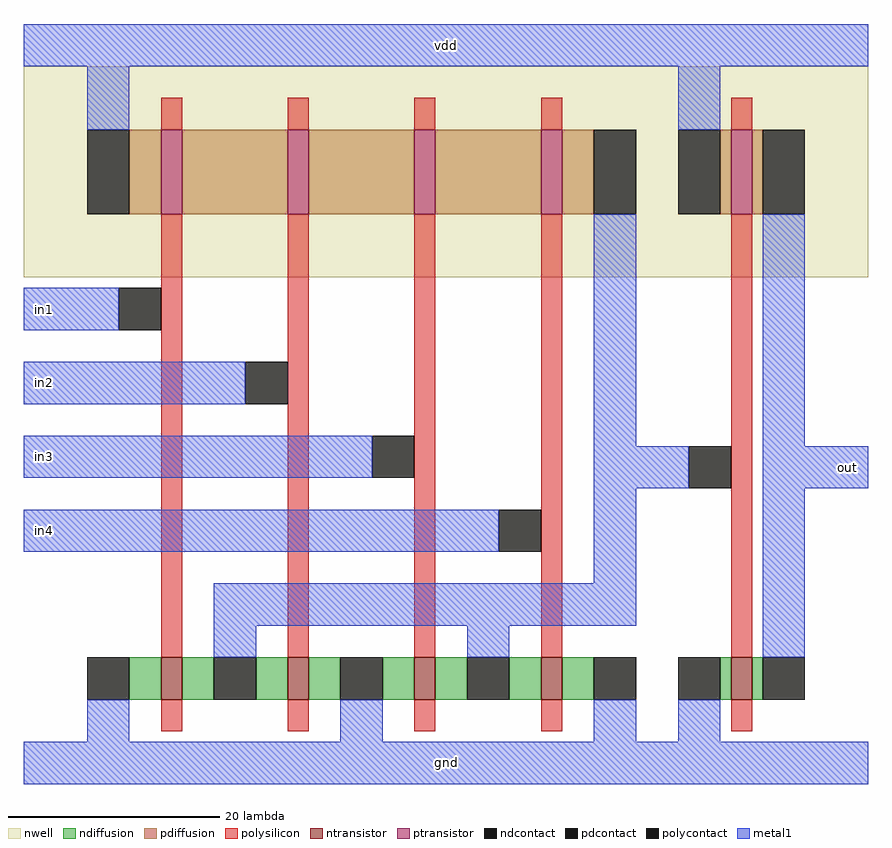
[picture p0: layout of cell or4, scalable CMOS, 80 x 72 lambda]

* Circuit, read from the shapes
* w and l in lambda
.subckt or4 gnd in1 in2 in3 in4 out vdd
M1 n1 in1 gnd VSUBS nfet w=4 l=2
M2 gnd in2 n1 VSUBS nfet w=4 l=2
M3 n1 in3 gnd VSUBS nfet w=4 l=2
M4 gnd in4 n1 VSUBS nfet w=4 l=2
M5 out n1 gnd VSUBS nfet w=4 l=2
M6 n2 in1 vdd n3 pfet w=8 l=2
M7 n4 in2 n2 n3 pfet w=8 l=2
M8 n5 in3 n4 n3 pfet w=8 l=2
M9 n1 in4 n5 n3 pfet w=8 l=2
M10 out n1 vdd n3 pfet w=8 l=2
.ends

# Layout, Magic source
magic
tech scmos
<< nwell >>
rect 0 0 80 20
<< ntransistor >>
rect 13 -40 15 -36
rect 25 -40 27 -36
rect 37 -40 39 -36
rect 49 -40 51 -36
rect 67 -40 69 -36
<< ptransistor >>
rect 13 6 15 14
rect 25 6 27 14
rect 37 6 39 14
rect 49 6 51 14
rect 67 6 69 14
<< ndiffusion >>
rect 10 -40 13 -36
rect 15 -40 18 -36
rect 22 -40 25 -36
rect 27 -40 30 -36
rect 34 -40 37 -36
rect 39 -40 42 -36
rect 46 -40 49 -36
rect 51 -40 54 -36
rect 66 -40 67 -36
rect 69 -40 70 -36
<< pdiffusion >>
rect 10 6 13 14
rect 15 6 25 14
rect 27 6 37 14
rect 39 6 49 14
rect 51 6 54 14
rect 66 6 67 14
rect 69 6 70 14
<< ndcontact >>
rect 6 -40 10 -36
rect 18 -40 22 -36
rect 30 -40 34 -36
rect 42 -40 46 -36
rect 54 -40 58 -36
rect 62 -40 66 -36
rect 70 -40 74 -36
<< pdcontact >>
rect 6 6 10 14
rect 54 6 58 14
rect 62 6 66 14
rect 70 6 74 14
<< polysilicon >>
rect 13 14 15 17
rect 25 14 27 17
rect 37 14 39 17
rect 49 14 51 17
rect 67 14 69 17
rect 13 -36 15 6
rect 25 -36 27 6
rect 37 -36 39 6
rect 49 -36 51 6
rect 67 -36 69 6
rect 13 -43 15 -40
rect 25 -43 27 -40
rect 37 -43 39 -40
rect 49 -43 51 -40
rect 67 -43 69 -40
<< polycontact >>
rect 9 -5 13 -1
rect 21 -12 25 -8
rect 33 -19 37 -15
rect 45 -26 49 -22
rect 63 -20 67 -16
<< metal1 >>
rect 0 20 80 24
rect 6 14 10 20
rect 62 14 66 20
rect 0 -5 9 -1
rect 0 -12 21 -8
rect 0 -19 33 -15
rect 54 -16 58 6
rect 70 -16 74 6
rect 54 -20 63 -16
rect 70 -20 80 -16
rect 0 -26 45 -22
rect 54 -29 58 -20
rect 18 -33 58 -29
rect 18 -36 22 -33
rect 42 -36 46 -33
rect 70 -36 74 -20
rect 6 -44 10 -40
rect 30 -44 34 -40
rect 54 -44 58 -40
rect 62 -44 66 -40
rect 0 -48 80 -44
<< labels >>
rlabel metal1 0 -5 4 -1 3 in1
rlabel metal1 0 -12 4 -8 3 in2
rlabel metal1 0 -19 4 -15 3 in3
rlabel metal1 0 -26 4 -22 3 in4
rlabel metal1 0 20 80 24 5 vdd
rlabel metal1 0 -48 80 -44 1 gnd
rlabel metal1 76 -20 80 -16 7 out
<< end >>
